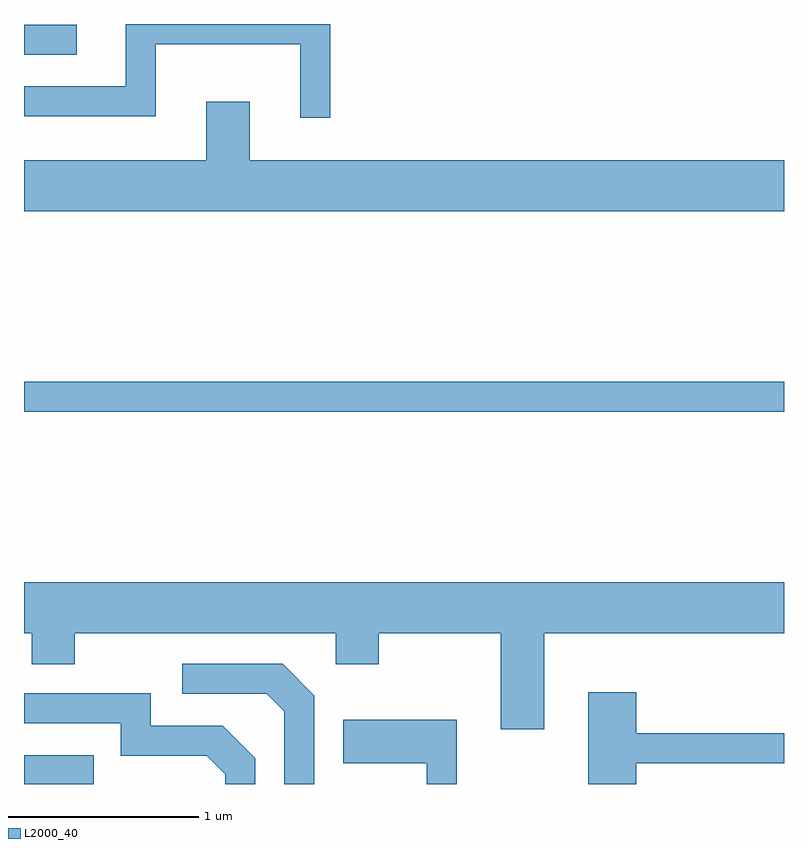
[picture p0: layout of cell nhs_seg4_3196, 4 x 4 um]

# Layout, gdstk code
import gdstk
lib = gdstk.Library(unit=1e-6, precision=1e-09)
def R(c, l, rs):  # rectangles x0, y0, x1, y1
    for r in rs: c.add(gdstk.rectangle(r[:2], r[2:], *l))
def P(c, l, *ps):  # polygons
    for p in ps: c.add(gdstk.Polygon(p, *l))
L2000_40 = (2000, 40)

nhs_seg4_3196 = lib.new_cell('nhs_seg4_3196')
R(nhs_seg4_3196, L2000_40, [(279.611,1253.982,279.978,1254.134), (279.611,1255.941,283.611,1256.099), (279.611,1257.821,279.888,1257.979)])
P(nhs_seg4_3196, L2000_40, [(281.224,1257.982),(280.146,1257.982),(280.146,1257.654),(279.611,1257.654),(279.611,1257.496),(280.304,1257.496),(280.304,1257.876),(281.066,1257.876),(281.066,1257.488),(281.224,1257.488)],
  [(283.611,1257.264),(280.799,1257.264),(280.799,1257.574),(280.571,1257.574),(280.571,1257.264),(279.611,1257.264),(279.611,1256.996),(283.611,1256.996)],
  [(282.349,1254.776),(283.611,1254.776),(283.611,1255.044),(279.611,1255.044),(279.611,1254.776),(279.651,1254.776),(279.651,1254.611),(279.879,1254.611),(279.879,1254.776),(281.251,1254.776),(281.251,1254.611),(281.479,1254.611),(281.479,1254.776),(282.121,1254.776),(282.121,1254.271),(282.349,1254.271)],
  [(281.139,1254.447),(280.972,1254.614),(280.443,1254.614),(280.443,1254.456),(280.889,1254.456),(280.981,1254.364),(280.981,1253.982),(281.139,1253.982)],
  [(282.834,1254.091),(283.611,1254.091),(283.611,1254.249),(282.834,1254.249),(282.834,1254.464),(282.581,1254.464),(282.581,1253.982),(282.834,1253.982)],
  [(280.829,1254.117),(280.657,1254.289),(280.279,1254.289),(280.279,1254.459),(279.611,1254.459),(279.611,1254.301),(280.121,1254.301),(280.121,1254.131),(280.574,1254.131),(280.671,1254.034),(280.671,1253.982),(280.829,1253.982)],
  [(281.889,1254.319),(281.291,1254.319),(281.291,1254.091),(281.731,1254.091),(281.731,1253.982),(281.889,1253.982)])

lib.write_gds('nhs_seg4_3196.gds')
